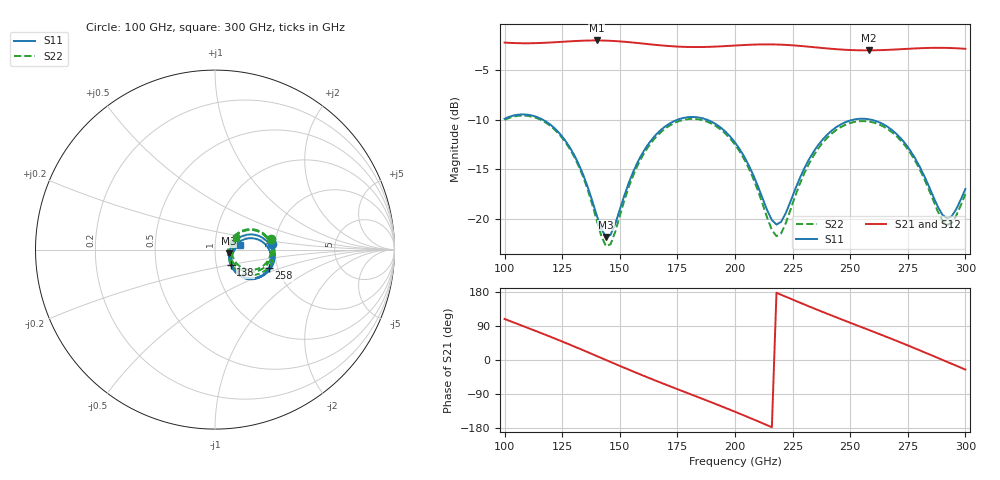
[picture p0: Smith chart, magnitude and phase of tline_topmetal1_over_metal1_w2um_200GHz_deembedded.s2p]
! Created with skrf 2.0.1 (http://scikit-rf.org).
# GHz S DB R 50.0
!freq dBS11 angS11 dBS21 angS21 dBS12 angS12 dBS22 angS22
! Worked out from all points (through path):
!   101 points, 100 GHz to 300 GHz, reference 50 ohm
!   highest |S21| = -2.02 dB at 140 GHz (marker M1); lowest = -3.0 dB at 258 GHz (marker M2)
!   group delay of S21, straight-line fit = 6.85 ps
!   lowest |S11| = -21.8 dB at 144 GHz (marker M3), VSWR 1.18, Z = 58.4 - j2.51 ohm
!   |S11| at or under -10 dB: 116.6 GHz to 175.1 GHz (58.49 GHz wide, 40.1 % of centre); 187.8 GHz to 251.4 GHz (63.54 GHz wide, 28.9 % of centre); 259 GHz to end of sweep
!   |S22| runs from -22.7 to -9.6 dB; largest |S21 - S12| = 1.2e-13
!   S11 on the Smith chart (normalised r, x): 100 GHz: 1.93, +0.14; 138 GHz: 1.17, -0.21; 258 GHz: 1.80, -0.42; 300 GHz: 1.32, +0.08
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100  -9.90 5.9  -2.23 108.3  -2.23 108.3  -10.01 10.4
110  -9.50 -12.4  -2.30 84.8  -2.30 84.8  -9.61 -7.6
118  -10.19 -26.9  -2.25 65.8  -2.25 65.8  -10.31 -22.0
126  -11.99 -40.0  -2.14 46.3  -2.14 46.3  -12.13 -35.2
134  -15.48 -47.8  -2.05 26.0  -2.05 26.0  -15.70 -43.4
138  -18.13 -44.9  -2.02 15.7  -2.02 15.7  -18.49 -41.1
140  -19.64 -39.4  -2.02 10.5  -2.02 10.5  -20.14 -35.7
144  -21.81 -15.3  -2.04 0.1  -2.04 0.1  -22.73 -9.9
146  -21.59 0.3  -2.06 -5.1  -2.06 -5.1  -22.53 7.8
154  -16.29 26.3  -2.19 -25.7  -2.19 -25.7  -16.70 35.9
168  -10.99 11.9  -2.52 -60.3  -2.52 -60.3  -11.21 21.1
184  -9.77 -15.5  -2.69 -98.1  -2.69 -98.1  -9.96 -6.3
200  -12.28 -40.8  -2.53 -136.6  -2.53 -136.6  -12.51 -32.0
210  -16.72 -45.0  -2.43 -161.9  -2.43 -161.9  -17.17 -37.4
218  -20.55 -15.0  -2.43 177.5  -2.43 177.5  -21.72 -5.1
234  -13.26 16.9  -2.70 136.8  -2.70 136.8  -13.65 31.3
246  -10.46 0.6  -2.93 107.8  -2.93 107.8  -10.73 14.6
258  -9.95 -19.1  -3.02 79.5  -3.02 79.5  -10.18 -5.2
268  -11.01 -35.0  -2.95 55.7  -2.95 55.7  -11.23 -21.1
280  -14.65 -47.3  -2.81 26.0  -2.81 26.0  -14.91 -33.9
292  -19.93 -18.3  -2.77 -4.7  -2.77 -4.7  -20.59 -4.2
300  -16.98 11.4  -2.86 -25.2  -2.86 -25.2  -17.49 27.9
